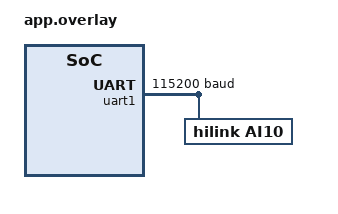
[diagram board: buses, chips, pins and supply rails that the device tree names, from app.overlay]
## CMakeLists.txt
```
cmake_minimum_required(VERSION 3.28.0)
find_package(Zephyr REQUIRED HINTS $ENV{ZEPHYR_BASE})
project(biometrics_async_sample)

target_sources(app PRIVATE src/main.c)
```

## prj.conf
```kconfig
CONFIG_BIOMETRICS=y
CONFIG_BIOMETRICS_SHELL=y
CONFIG_SHELL=y
CONFIG_PRINTK=y
```

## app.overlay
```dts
/*
 * SPDX-License-Identifier: Apache-2.0
 * Copyright (c) 2026 Siratul Islam <siratul.islam@linux.dev>
 */

/ {
	aliases {
		biometrics = &ai10;
	};
};

&uart1 {
	status = "okay";
	current-speed = <115200>;
	pinctrl-0 = <&uart1_default>;
	pinctrl-names = "default";

	ai10: biometrics {
		compatible = "hilink,ai10";
	};
};
```

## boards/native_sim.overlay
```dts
/*
 * SPDX-License-Identifier: Apache-2.0
 * Copyright (c) 2026 Siratul Islam
 */

/ {
	aliases {
		biometrics = &biometrics_emul;
	};

	biometrics_emul: biometrics-emul {
		compatible = "zephyr,biometrics-emul";
		status = "okay";
	};
};
```

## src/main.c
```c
/*
 * Copyright (c) 2026 Siratul Islam <siratul.islam@linux.dev>
 *
 * SPDX-License-Identifier: Apache-2.0
 */

#include <zephyr/drivers/biometrics.h>
#include <zephyr/shell/shell.h>
#include <zephyr/sys/printk.h>
#include <string.h>

static const struct device *const biometrics = DEVICE_DT_GET(DT_ALIAS(biometrics));

static const char *modality_name(uint32_t modality)
{
	switch (modality) {
	case BIOMETRIC_MODALITY_FINGERPRINT:
		return "fingerprint";
	case BIOMETRIC_MODALITY_IRIS:
		return "iris";
	case BIOMETRIC_MODALITY_FACE:
		return "face";
	case BIOMETRIC_MODALITY_VOICE:
		return "voice";
	case BIOMETRIC_MODALITY_PALM:
		return "palm";
	default:
		return "unknown modality";
	}
}

static void on_event(const struct device *dev, const struct biometric_event *event, void *user_data)
{
	ARG_UNUSED(dev);
	ARG_UNUSED(user_data);

	switch (event->type) {
	case BIOMETRIC_EVENT_MATCH:
		printk("Matched %s ID %u\n", modality_name(event->match.modality),
		       event->match.template_id);
		break;
	case BIOMETRIC_EVENT_NO_MATCH:
		printk("No match: %d\n", event->status);
		break;
	case BIOMETRIC_EVENT_ENROLL_COMPLETE:
		printk("Enrolled %s ID %u\n", modality_name(event->enrollment.modality),
		       event->enrollment.template_id);
		break;
	case BIOMETRIC_EVENT_ERROR:
		printk("Operation failed: %d\n", event->status);
		break;
	case BIOMETRIC_EVENT_STOPPED:
		printk("Operation ended: %d\n", event->status);
		break;
	}
}

static int check_operation(const struct shell *sh, uint32_t operation, const char *name)
{
	struct biometric_capabilities caps;
	int ret;

	if (!device_is_ready(biometrics)) {
		shell_error(sh, "Biometrics device is unavailable");
		return -ENODEV;
	}

	ret = biometric_get_capabilities(biometrics, &caps);
	if (ret != 0) {
		shell_error(sh, "Cannot query capabilities: %d", ret);
		return ret;
	}

	if ((caps.async_operations & operation) == 0U) {
		shell_error(sh, "%s is not supported by this device", name);
		return -ENOTSUP;
	}

	return 0;
}

static int cmd_enroll(const struct shell *sh, size_t argc, char **argv)
{
	int ret;

	ARG_UNUSED(argc);
	ARG_UNUSED(argv);

	ret = check_operation(sh, BIOMETRIC_ASYNC_ENROLL, "Asynchronous enrollment");
	if (ret != 0) {
		return ret;
	}

	ret = biometric_enroll_async(biometrics, BIOMETRIC_MODALITY_AUTO, BIOMETRIC_ID_AUTO,
				     K_SECONDS(20));
	if (ret == 0) {
		shell_print(sh, "Present a biometric sample within 20 seconds.");
	} else {
		shell_error(sh, "Cannot start enrollment: %d", ret);
	}

	return ret;
}

static int cmd_identify(const struct shell *sh, size_t argc, char **argv)
{
	bool continuous = argc == 1U;
	int ret;

	if (!continuous && strcmp(argv[1], "once") != 0) {
		shell_error(sh, "Usage: biometrics_async identify [once]");
		return -EINVAL;
	}

	ret = check_operation(sh, BIOMETRIC_ASYNC_IDENTIFY, "Asynchronous identification");
	if (ret != 0) {
		return ret;
	}

	ret = biometric_match_async(biometrics, BIOMETRIC_MATCH_IDENTIFY, 0, continuous,
				    K_SECONDS(10));
	if (ret == 0) {
		if (continuous) {
			shell_print(sh, "Recognition active. Use 'biometrics_async stop' to stop.");
		} else {
			shell_print(sh, "Present a biometric sample within 10 seconds.");
		}
	} else {
		shell_error(sh, "Cannot start identification: %d", ret);
	}

	return ret;
}

static int cmd_stop(const struct shell *sh, size_t argc, char **argv)
{
	int ret;

	ARG_UNUSED(argc);
	ARG_UNUSED(argv);

	ret = device_is_ready(biometrics) ? biometric_async_stop(biometrics) : -ENODEV;
	if (ret != 0) {
		shell_error(sh, "Cannot stop operation: %d", ret);
	}

	return ret;
}

SHELL_STATIC_SUBCMD_SET_CREATE(
	async_commands,
	SHELL_CMD_ARG(enroll, NULL, "Enroll a biometric template.", cmd_enroll, 1, 0),
	SHELL_CMD_ARG(identify, NULL, "Identify continuously, or 'once' for one attempt.",
		      cmd_identify, 1, 1),
	SHELL_CMD_ARG(stop, NULL, "Stop the active operation.", cmd_stop, 1, 0),
	SHELL_SUBCMD_SET_END);
SHELL_CMD_REGISTER(biometrics_async, &async_commands, "Asynchronous biometric operations", NULL);

int main(void)
{
	struct biometric_capabilities caps;
	int ret;

	if (!device_is_ready(biometrics)) {
		printk("Biometrics device is unavailable\n");
		return 0;
	}

	ret = biometric_get_capabilities(biometrics, &caps);
	if (ret != 0) {
		printk("Cannot query capabilities: %d\n", ret);
		return 0;
	}

	if ((caps.async_operations & (BIOMETRIC_ASYNC_ENROLL | BIOMETRIC_ASYNC_IDENTIFY)) == 0U) {
		printk("Device supports neither asynchronous enrollment nor identification\n");
		return 0;
	}

	ret = biometric_callback_set(biometrics, on_event, NULL);
	if (ret != 0) {
		printk("Cannot register callback: %d\n", ret);
		return 0;
	}

	printk("Asynchronous enrollment: %s\n",
	       (caps.async_operations & BIOMETRIC_ASYNC_ENROLL) != 0U ? "supported"
								      : "unsupported");
	printk("Asynchronous identification: %s\n",
	       (caps.async_operations & BIOMETRIC_ASYNC_IDENTIFY) != 0U ? "supported"
									: "unsupported");
	printk("Use 'biometrics_async enroll', 'biometrics_async identify', "
	       "and 'biometrics_async stop'.\n");
	printk("Device name for biometric database commands: %s\n", biometrics->name);

	return 0;
}
```
